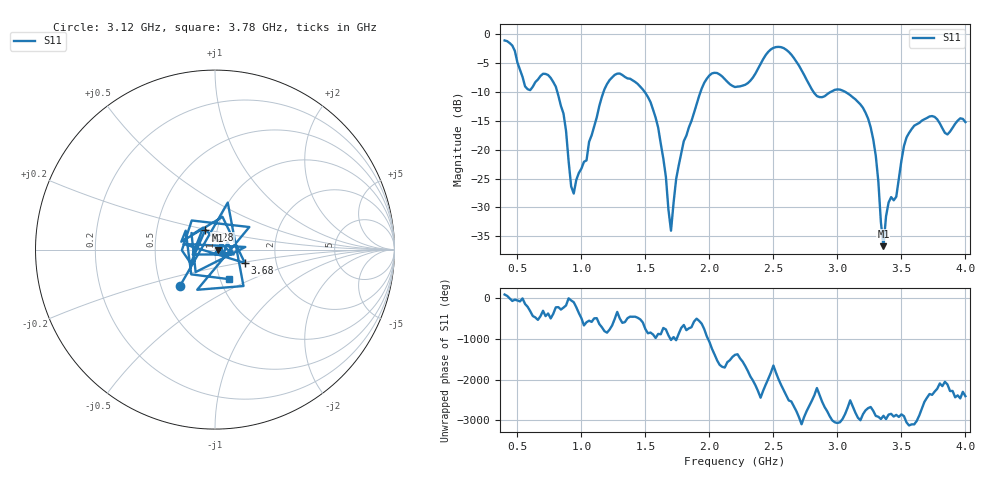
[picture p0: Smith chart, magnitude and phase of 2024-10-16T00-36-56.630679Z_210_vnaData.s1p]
! Created with skrf (http://scikit-rf.org).
# Hz S RI R 50.0
!freq ReS11 ImS11
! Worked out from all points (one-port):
!   181 points, 400 MHz to 4 GHz, reference 50 ohm
!   lowest |S11| = -36.7 dB at 3.36 GHz (marker M1), VSWR 1.03, Z = 51.5 - j0.137 ohm
!   |S11| at or under -10 dB: 810.9 MHz to 1.174 GHz (363.1 MHz wide, 36.6 % of centre); 1.492 GHz to 1.932 GHz (439.6 MHz wide, 25.7 % of centre); 3.057 GHz to end of sweep (the widest 3 of 4)
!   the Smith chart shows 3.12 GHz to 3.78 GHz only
!   S11 on the Smith chart (normalised r, x): 3.12 GHz: 0.63, -0.28; 3.28 GHz: 0.88, +0.20; 3.68 GHz: 1.38, -0.21; 3.78 GHz: 1.10, -0.38
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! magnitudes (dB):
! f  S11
! 400 MHz  -1.2
! 560 MHz  -9.1
! 740 MHz  -7.1
! 860 MHz  -13.8
! 920 MHz  -26.4
! 940 MHz  -27.6
! 1.18 GHz  -9.6
! 1.3 GHz  -6.9
! 1.56 GHz  -13.1
! 1.64 GHz  -21.6
! 1.7 GHz  -34.0
! 1.76 GHz  -22.8
! 1.98 GHz  -7.8
! 2.2 GHz  -9.2
! 2.5 GHz  -2.5
! 2.66 GHz  -4.2
! 2.84 GHz  -10.8
! 3.1 GHz  -10.6
! 3.12 GHz  -11.0
! 3.28 GHz  -18.2
! 3.36 GHz  -36.7
! 3.4 GHz  -29.1
! 3.46 GHz  -28.1
! 3.56 GHz  -17.1
! 3.68 GHz  -14.8
! 3.78 GHz  -14.8
! 3.86 GHz  -17.4
! 4 GHz  -15.3
